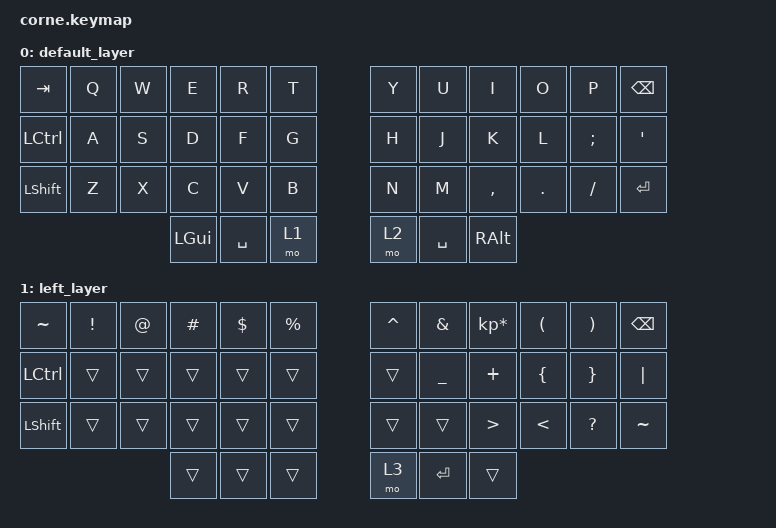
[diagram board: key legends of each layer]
/*
 * Copyright (c) 2020 The ZMK Contributors
 *
 * SPDX-License-Identifier: MIT
 */

#include <behaviors.dtsi>
#include <dt-bindings/zmk/keys.h>
#include <dt-bindings/zmk/outputs.h>
#include <dt-bindings/zmk/bt.h>

/ {
  keymap {
    compatible = "zmk,keymap";

    default_layer {
      // --------------------------------------   ---------------------------------------
      // |  TAB |  Q  |  W  |  E  |  R  |  T  |   |  Y  |  U   |  I  |  O  |  P  | BKSP |
      // | CTRL |  A  |  S  |  D  |  F  |  G  |   |  H  |  J   |  K  |  L  |  ;  |  '   |
      // | SHFT |  Z  |  X  |  C  |  V  |  B  |   |  N  |  M   |  ,  |  .  |  /  | ENT  |
      // -------------------| GUI | SPC | LWR |   | RSE | SPC  | ALT |-------------------
      //                    -------------------   --------------------
      bindings = <
        &kp TAB   &kp Q &kp W &kp E &kp R &kp T   &kp Y &kp U  &kp I     &kp O   &kp P    &kp BSPC
        &kp LCTRL &kp A &kp S &kp D &kp F &kp G   &kp H &kp J  &kp K     &kp L   &kp SEMI &kp SQT
        &kp LSHFT &kp Z &kp X &kp C &kp V &kp B   &kp N &kp M  &kp COMMA &kp DOT &kp FSLH &kp RET
                       &kp LGUI &kp SPACE &mo 1   &mo 2 &kp SPACE &kp RALT
        >;
    };
    left_layer {
      // --------------------------------------   --------------------------------------
      // |   ~  |  !  |  @  |  #  |  $  |  %  |   |  ^  |  &  |  *  |  (  |  )  | BKSP |
      // | CTRL |     |     |     |     |     |   |     |  _  |  +  |  {  |  }  | "|"  |
      // | SHFT |     |     |     |     |     |   |     |     |  <  |  >  |  ?  |      | // TODO: Fix this row when &mkp is committed
      // -------------------|     |     |     |   | ADJ | ENT |     |-------------------
      //                    -------------------   -------------------
      bindings = <
        &kp TILDE &kp EXCL &kp AT &kp HASH &kp DLLR &kp PRCNT   &kp CARET &kp AMPS  &kp KP_MULTIPLY &kp LPAR &kp RPAR  &kp BSPC
        &kp LCTRL &trans   &trans &trans   &trans   &trans      &trans    &kp UNDER &kp PLUS        &kp LBRC &kp RBRC  &kp PIPE
        &kp LSHFT &trans   &trans &trans   &trans   &trans      &trans    &trans    &kp GT          &kp LT   &kp QMARK &kp TILDE
                                      &trans &trans &trans      &mo 3 &kp RET &trans
        >;
    };
  };
  right_layer {
    // --------------------------------------   --------------------------------------
    // |  ESC |  1  |  2  |  3  |  4  |  5  |   |  6  |  7  |  8  |  9  |  0  | BKSP |
    // |      |     |     |     |     |     |   |     |  -  |  =  |  [  |  ]  |  \   |
    // |      |     |     |     |     |     |   |     | INS |     |     |     |      |
    // -------------------|     | ALT | ADJ |   |     |     |     |-------------------
    //                    -------------------   -------------------
    bindings = <
      &kp ESC &kp N1 &kp N2 &kp N3 &kp N4 &kp N5   &kp N6 &kp N7    &kp N8    &kp N9   &kp N0   &kp BSPC
      &trans  &trans &trans &trans &trans &trans   &trans &kp MINUS &kp EQUAL &kp LBKT &kp RBKT &kb BSLH
      &trans  &trans &trans &trans &trans &trans   &trans &kb INS   &trans    &trans   &trans   &trans
                           &trans &kp LALT &mo 3   &trans &trans &trans
      >;
  };
  adjust_layer {
    // -------------------------------------   -------------------------------------
    // |     | LCL | MSU | RCL | MWU |     |   | MNX | MVD | MPL | MVU | MPV |     | // TODO: once mouse keys exist
    // |     | MSL | MSD | MSR | MWD | USB |   | LFT | DWN |  UP | RGT |     |     | // TODO: once mouse keys exist
    // |CONFG| BT1 | BT2 | BT3 | BT4 | BT5 |   |     |     |     |     |     |     |
    // ------------------|     |     |     |   |     |     |     |------------------
    //                   -------------------   -------------------
    bindings = <
      &trans &trans       &trans       &trans       &trans       &trans         &kp C_NEXT &kp C_VOL_DN &kp K_PP &kp C_VOL_UP &kp C_PREV &trans
      &trans &trans       &trans       &trans       &trans       &out USB       &kp LEFT   &kp DOWN     &kp UP   &kp RIGHT    &trans     &trans
      &mo 4  &bt BT_SEL 0 &bt BT_SEL 1 &bt BT_SEL 2 &bt BT_SEL 3 &bt BT_SEL 4   &trans     &trans       &trans   &trans       &trans     &trans
                                                         &trans &trans &trans   &trans &trans &trans
      >;
  };
  config_layer {
    // -------------------------------------   -------------------------------------
    // |BTCLR|     |     |     |     |     |   |     |     |     |     |     |     |
    // |     |     |     |     |     |     |   |     |     |     |     |     |     |
    // |     |     |     |     |     |     |   |     |     |     |     |     |RESET|
    // ------------------|     |     |     |   |     |     |     |------------------
    //                   -------------------   -------------------
    bindings = <
      &bt BT_CLR &trans &trans &trans &trans &trans   &trans &trans &trans &trans &trans &trans
      &trans     &trans &trans &trans &trans &trans   &trans &trans &trans &trans &trans &trans
      &trans     &trans &trans &trans &trans &trans   &trans &trans &trans &trans &trans &reset
                               &trans &trans &trans   &trans &trans &trans
      >;
  };
};
